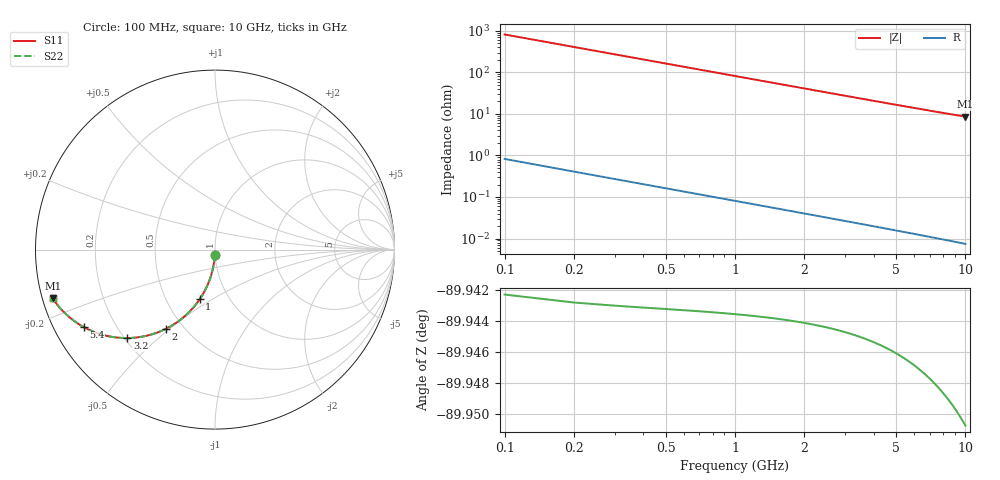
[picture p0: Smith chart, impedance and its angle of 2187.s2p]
# Hz S RI R 50.00
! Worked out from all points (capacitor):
!   100 points, 100 MHz to 10 GHz, reference 50 ohm
!   read as one part in shunt: C = 1.94 pF near 100 MHz
!   lowest |Z| = 8.63 ohm at 10 GHz (marker M1)
!   S11 on the Smith chart (normalised r, x): 100 MHz: 1.00, -0.06; 1 GHz: 0.73, -0.44; 2 GHz: 0.40, -0.49; 3.2 GHz: 0.21, -0.40; 5.4 GHz: 0.09, -0.27; 10 GHz: 0.03, -0.15
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1e8  -0.000923 -0.0303  0.999 -0.0307  0.999 -0.0307  -0.000923 -0.0303
2e8  -0.00373 -0.0604  0.9962 -0.0612  0.9962 -0.0612  -0.00373 -0.0604
3e8  -0.00836 -0.0901  0.9916 -0.0913  0.9916 -0.0913  -0.00836 -0.0901
4e8  -0.0148 -0.1194  0.9852 -0.121  0.9852 -0.121  -0.0148 -0.1194
5e8  -0.0228 -0.148  0.9771 -0.15  0.9771 -0.15  -0.0228 -0.148
6e8  -0.0325 -0.1758  0.9674 -0.1782  0.9674 -0.1782  -0.0325 -0.1758
7e8  -0.0438 -0.2027  0.9562 -0.2055  0.9562 -0.2055  -0.0438 -0.2027
8e8  -0.0564 -0.2286  0.9435 -0.2318  0.9435 -0.2318  -0.0564 -0.2286
1e9  -0.0853 -0.2769  0.9146 -0.2809  0.9146 -0.2809  -0.0853 -0.2769
1.2e9  -0.1183 -0.3202  0.8816 -0.325  0.8816 -0.325  -0.1183 -0.3202
1.4e9  -0.1544 -0.3581  0.8455 -0.3637  0.8455 -0.3637  -0.1544 -0.3581
1.8e9  -0.2318 -0.4179  0.7681 -0.4251  0.7681 -0.4251  -0.2318 -0.4179
2e9  -0.2713 -0.4401  0.7286 -0.4482  0.7286 -0.4482  -0.2713 -0.4401
2.6e9  -0.3861 -0.4811  0.6138 -0.4916  0.6138 -0.4916  -0.3861 -0.4811
3.2e9  -0.4878 -0.4928  0.512 -0.5059  0.512 -0.5059  -0.4878 -0.4928
3.4e9  -0.5181 -0.4922  0.4817 -0.5061  0.4817 -0.5061  -0.5181 -0.4922
4.2e9  -0.6214 -0.4759  0.3784 -0.4931  0.3784 -0.4931  -0.6214 -0.4759
5.1e9  -0.7078 -0.4437  0.2919 -0.4647  0.2919 -0.4647  -0.7078 -0.4437
5.4e9  -0.731 -0.4317  0.2687 -0.454  0.2687 -0.454  -0.731 -0.4317
6.7e9  -0.8075 -0.3796  0.192 -0.4075  0.192 -0.4075  -0.8075 -0.3796
8.4e9  -0.869 -0.3187  0.1303 -0.3543  0.1303 -0.3543  -0.869 -0.3187
1e10  -0.9044 -0.2714  0.0946 -0.3142  0.0946 -0.3142  -0.9044 -0.2714
